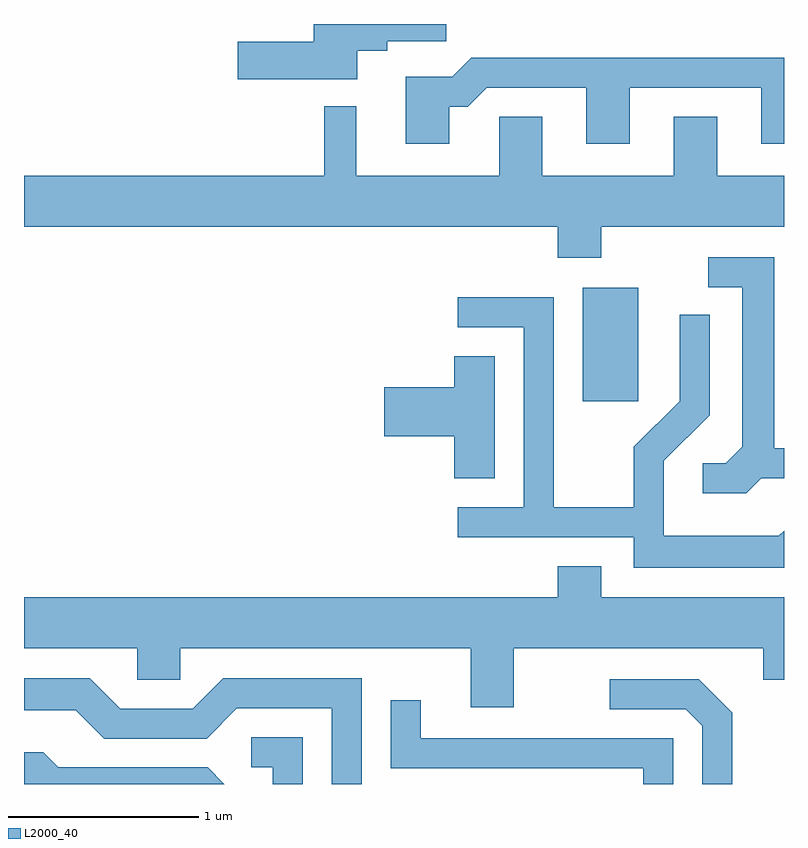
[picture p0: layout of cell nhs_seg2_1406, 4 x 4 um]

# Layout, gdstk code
import gdstk
lib = gdstk.Library(unit=1e-6, precision=1e-09)
def R(c, l, rs):  # rectangles x0, y0, x1, y1
    for r in rs: c.add(gdstk.rectangle(r[:2], r[2:], *l))
def P(c, l, *ps):  # polygons
    for p in ps: c.add(gdstk.Polygon(p, *l))
L2000_40 = (2000, 40)

nhs_seg2_1406 = lib.new_cell('nhs_seg2_1406')
R(nhs_seg2_1406, L2000_40, [(228.551,1071.816,228.844,1072.414)])
P(nhs_seg2_1406, L2000_40, [(227.364,1073.661),(227.524,1073.661),(227.524,1073.711),(227.834,1073.711),(227.834,1073.802),(227.136,1073.802),(227.136,1073.709),(226.736,1073.709),(226.736,1073.511),(227.364,1073.511)],
  [(227.849,1073.366),(227.947,1073.366),(228.047,1073.466),(228.571,1073.466),(228.571,1073.171),(228.799,1073.171),(228.799,1073.466),(229.491,1073.466),(229.491,1073.171),(229.611,1073.171),(229.611,1073.624),(227.964,1073.624),(227.864,1073.524),(227.621,1073.524),(227.621,1073.171),(227.849,1073.171)],
  [(228.649,1072.736),(229.611,1072.736),(229.611,1073.004),(229.259,1073.004),(229.259,1073.314),(229.031,1073.314),(229.031,1073.004),(228.339,1073.004),(228.339,1073.314),(228.111,1073.314),(228.111,1073.004),(227.359,1073.004),(227.359,1073.368),(227.191,1073.368),(227.191,1073.004),(225.611,1073.004),(225.611,1072.736),(228.421,1072.736),(228.421,1072.571),(228.649,1072.571)],
  [(229.492,1071.411),(229.611,1071.411),(229.611,1071.569),(229.559,1071.569),(229.559,1072.574),(229.213,1072.574),(229.213,1072.416),(229.391,1072.416),(229.391,1071.577),(229.304,1071.489),(229.183,1071.489),(229.183,1071.331),(229.412,1071.331)],
  [(229.611,1071.136),(229.584,1071.109),(228.979,1071.109),(228.979,1071.504),(229.219,1071.744),(229.219,1072.273),(229.061,1072.273),(229.061,1071.817),(228.821,1071.577),(228.821,1071.259),(228.399,1071.259),(228.399,1072.364),(227.893,1072.364),(227.893,1072.206),(228.241,1072.206),(228.241,1071.259),(227.893,1071.259),(227.893,1071.101),(228.821,1071.101),(228.821,1070.941),(229.611,1070.941)],
  [(228.089,1072.054),(227.876,1072.054),(227.876,1071.889),(227.506,1071.889),(227.506,1071.631),(227.876,1071.631),(227.876,1071.411),(228.089,1071.411)],
  [(228.189,1070.516),(229.501,1070.516),(229.501,1070.351),(229.611,1070.351),(229.611,1070.784),(228.649,1070.784),(228.649,1070.949),(228.421,1070.949),(228.421,1070.784),(225.611,1070.784),(225.611,1070.516),(226.206,1070.516),(226.206,1070.351),(226.434,1070.351),(226.434,1070.516),(227.961,1070.516),(227.961,1070.206),(228.189,1070.206)],
  [(227.389,1070.359),(226.659,1070.359),(226.499,1070.199),(226.117,1070.199),(225.957,1070.359),(225.611,1070.359),(225.611,1070.191),(225.884,1070.191),(226.034,1070.041),(226.572,1070.041),(226.732,1070.201),(227.231,1070.201),(227.231,1069.802),(227.389,1069.802)],
  [(229.339,1070.177),(229.162,1070.354),(228.693,1070.354),(228.693,1070.196),(229.094,1070.196),(229.181,1070.109),(229.181,1069.802),(229.339,1069.802)],
  [(229.029,1070.044),(227.699,1070.044),(227.699,1070.243),(227.541,1070.243),(227.541,1069.886),(228.871,1069.886),(228.871,1069.802),(229.029,1069.802)],
  [(227.079,1070.049),(226.808,1070.049),(226.808,1069.891),(226.921,1069.891),(226.921,1069.802),(227.079,1069.802)],
  [(226.577,1069.889),(225.792,1069.889),(225.712,1069.969),(225.611,1069.969),(225.611,1069.804),(225.613,1069.802),(226.664,1069.802)])

lib.write_gds('nhs_seg2_1406.gds')
